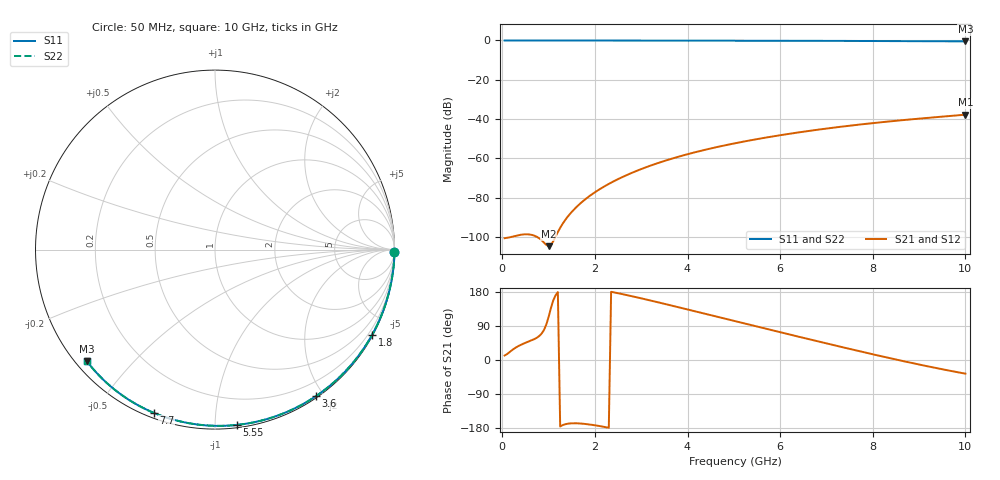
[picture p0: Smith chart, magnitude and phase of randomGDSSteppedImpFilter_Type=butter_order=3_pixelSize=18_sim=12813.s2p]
! freq	dB(S11)	phase(S11)	dB(S12)	phase(S12)
!  dB(S21)	phase(S21)	dB(S22)	phase(S22)
!S-par simulation data
#  GHz  S  DB  R 50
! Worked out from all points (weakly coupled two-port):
!   200 points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, 50 MHz to 10 GHz, reference 50 ohm
!   highest |S21| = -37.76 dB at 10 GHz (marker M1); lowest = -104.7 dB at 1 GHz (marker M2)
!   lowest |S11| = -0.5 dB at 10 GHz (marker M3), VSWR 36.65, Z = 1.56 - j18.7 ohm
!   |S11| at or under -10 dB: nowhere
!   |S22| runs from -0.5 to 0.0 dB; largest |S21 - S12| = 0
!   S11 on the Smith chart (normalised r, x): 50 MHz: open; 1.8 GHz: 0.03, -3.94; 3.6 GHz: 0.02, -1.90; 5.55 GHz: 0.02, -1.13; 7.7 GHz: 0.02, -0.69; 10 GHz: 0.03, -0.37
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0.05  -0.00 -0.8  -100.61 11.8  -100.61 11.8  -0.00 -0.8
0.5  -0.01 -8.0  -98.62 45.4  -98.62 45.4  -0.01 -8.0
1  -0.02 -15.9  -104.66 113.5  -104.66 113.5  -0.02 -15.9
1.75  -0.04 -27.7  -81.60 -168.3  -81.60 -168.3  -0.04 -27.7
1.8  -0.04 -28.4  -80.64 -168.9  -80.64 -168.9  -0.04 -28.4
1.85  -0.04 -29.2  -79.74 -169.7  -79.74 -169.7  -0.04 -29.2
2  -0.04 -31.5  -77.24 -172.3  -77.24 -172.3  -0.04 -31.5
2.15  -0.04 -33.8  -75.00 -175.4  -75.00 -175.4  -0.04 -33.8
2.35  -0.05 -36.9  -72.33 180.0  -72.33 180.0  -0.05 -36.9
2.55  -0.05 -39.9  -69.96 175.0  -69.96 175.0  -0.05 -39.9
2.95  -0.06 -46.0  -65.88 164.1  -65.88 164.1  -0.06 -46.0
3.4  -0.07 -52.6  -62.06 151.2  -62.06 151.2  -0.07 -52.6
3.6  -0.07 -55.6  -60.56 145.3  -60.56 145.3  -0.07 -55.6
4.3  -0.09 -65.6  -56.07 124.3  -56.07 124.3  -0.09 -65.6
5.05  -0.12 -76.1  -52.19 101.7  -52.19 101.7  -0.12 -76.1
5.55  -0.14 -82.9  -49.99 86.7  -49.99 86.7  -0.14 -82.9
6.1  -0.16 -90.2  -47.84 70.3  -47.84 70.3  -0.16 -90.2
6.7  -0.19 -98.0  -45.76 52.6  -45.76 52.6  -0.19 -98.0
7.7  -0.25 -110.7  -42.83 23.6  -42.83 23.6  -0.25 -110.7
8.35  -0.30 -118.7  -41.21 5.4  -41.21 5.4  -0.30 -118.7
9.15  -0.38 -128.5  -39.46 -15.8  -39.46 -15.8  -0.38 -128.5
10  -0.47 -138.9  -37.76 -36.1  -37.76 -36.1  -0.47 -138.9
